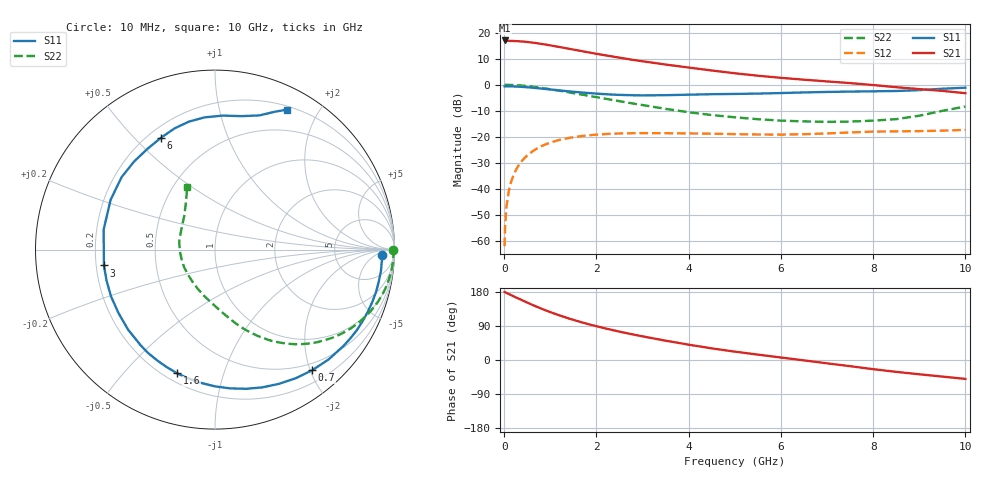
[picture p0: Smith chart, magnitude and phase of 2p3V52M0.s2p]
! (c) 2009  Infineon Technologies AG, Munich
! Infineon Technologies  Discrete & RF Semiconductors
! BFP420
! VCE =  3.5 V,  IC =  2.0 mA
! Common Emitter S-Parameters:  Nov 2009
# GHz  S  MA  R  50
!  f  S11  S21  S12  S22
! GHz  MAG  ANG  MAG  ANG  MAG  ANG  MAG  ANG
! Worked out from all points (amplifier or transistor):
!   46 points, 10 MHz to 10 GHz, reference 50 ohm
!   highest |S21| = 17.0 dB at 10 MHz (marker M1)
!   |S21| within 3 dB of that: start of sweep to 1.347 GHz
!   unconditionally stable (mu >= 1): 3.941 GHz to end of sweep
!   at 300 MHz: K = 0.05, MSG = 24.0 dB, |S12| = -31.3 dB
!   at 1.7 GHz: K = 0.34, MSG = 16.2 dB, |S12| = -19.6 dB
!   at 10 GHz: K = 1.22, MAG = 4.2 dB, |S12| = -17.3 dB
!   lowest NFmin = 0.53 dB at 900 MHz
!   S11 on the Smith chart (normalised r, x): 10 MHz: 24, -10; 700 MHz: 0.39, -2.03; 1.6 GHz: 0.25, -0.71; 3 GHz: 0.23, -0.07; 6 GHz: 0.25, +0.60; 10 GHz: 0.24, +1.62
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0.01  0.9316 -1.8  7.071 179.3  0.0008 82.3  0.9938 0.0
0.02  0.9332 -1.4  6.873 179.0  0.0019 78.5  0.9946 -0.8
0.05  0.9318 -3.7  6.909 177.0  0.0046 83.0  0.9947 -1.9
0.15  0.9297 -11.1  6.931 171.3  0.0137 82.9  0.9909 -6.0
0.35  0.9136 -25.9  6.798 160.0  0.0316 75.0  0.9694 -14.0
0.5  0.895 -36.8  6.606 151.6  0.044 69.1  0.9431 -19.7
0.7  0.8633 -51.1  6.286 140.9  0.059 61.3  0.8986 -26.9
0.9  0.8283 -64.6  5.891 131.0  0.0718 54.1  0.8474 -33.5
1.1  0.7944 -77.5  5.486 122.0  0.0826 47.7  0.7941 -39.4
1.4  0.7468 -95.9  4.907 109.6  0.0952 39.0  0.7153 -47.4
1.6  0.7209 -107.0  4.554 102.3  0.1014 33.9  0.6659 -52.0
1.7  0.7073 -112.5  4.391 98.8  0.1042 31.6  0.6427 -54.1
2.2  0.6583 -137.4  3.66 83.2  0.1133 21.5  0.5384 -63.5
2.6  0.6353 -155.8  3.198 72.2  0.1168 14.6  0.4668 -70.3
3  0.6253 -171.9  2.819 62.4  0.118 9.2  0.4073 -76.4
3.5  0.6303 169.8  2.441 51.0  0.1176 3.6  0.3447 -84.7
4.5  0.6585 142.2  1.877 30.7  0.1149 -3.9  0.2621 -104.2
5.5  0.676 123.8  1.49 14.2  0.1111 -7.7  0.218 -125.4
6  0.6924 115.6  1.357 6.6  0.1105 -8.2  0.205 -137.6
7  0.7276 101.5  1.158 -8.8  0.1164 -9.2  0.1938 -163.3
8.5  0.7583 78.7  0.897 -31.3  0.1276 -16.3  0.2187 149.1
10  0.8775 62.7  0.689 -49.9  0.1363 -20.7  0.383 113.9
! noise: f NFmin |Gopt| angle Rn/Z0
0.9  0.53  0.47  33  0.22
1.8  1.03  0.29  77  0.17
2.4  1.13  0.31  102  0.16
3  1.32  0.31  136  0.12
4  1.57  0.37  -168  0.1
5  1.96  0.42  -129  0.28
6  2.72  0.51  -111  0.37
